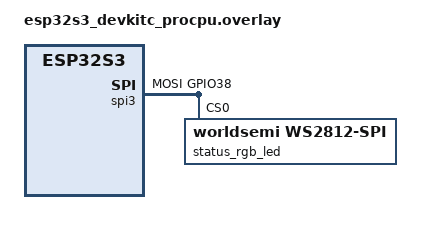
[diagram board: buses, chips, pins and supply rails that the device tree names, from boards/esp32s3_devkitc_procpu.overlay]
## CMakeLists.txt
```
cmake_minimum_required(VERSION 3.20.0)

# Standalone sample: register the status_led module without relying on a
# west manifest entry, so this sample builds on its own against any board.
get_filename_component(STATUS_LED_MODULE_DIR "${CMAKE_CURRENT_SOURCE_DIR}/../.." ABSOLUTE)
list(APPEND ZEPHYR_EXTRA_MODULES ${STATUS_LED_MODULE_DIR})

find_package(Zephyr REQUIRED HINTS $ENV{ZEPHYR_BASE})
project(status_led_basic_sample)

target_sources(app PRIVATE src/main.c)
```

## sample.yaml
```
sample:
  name: Portable RGB status LED demo
  description: >
    Minimal demonstration of the status_led library: boot -> provisioning ->
    network -> MQTT -> OTA -> fatal error lifecycle, driving a real WS2812
    over SPI3. See modules/status_led/README.md for the full state/pattern
    table and the other available hardware backends.
tests:
  sample.status_led.basic:
    # Requires the real WS2812 wiring in boards/esp32s3_devkitc_procpu.overlay
    # (GPIO38/SPI3) -- build-only in CI/twister.
    build_only: true
    platform_allow: esp32s3_devkitc/esp32s3/procpu
    tags: status_led
```

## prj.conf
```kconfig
# Minimal configuration: the status LED library and its WS2812 backend only.
# No networking/MQTT/OTA -- this sample demonstrates the library in isolation.
CONFIG_STATUS_LED=y
CONFIG_STATUS_LED_BACKEND_WS2812=y

CONFIG_LOG=y
```

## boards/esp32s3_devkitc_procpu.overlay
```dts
/*
 * Reference WS2812 wiring for the ESP32-S3-DevKitC, driven over SPI3 using
 * only its MOSI line as the single-wire data line (see status_led README
 * for the DeviceTree contract of the other backends).
 */

#include <zephyr/dt-bindings/led/led.h>
#include <zephyr/dt-bindings/led/worldsemi_ws2812c.h>

/ {
	aliases {
		led-strip = &status_rgb_led;
	};
};

&pinctrl {
	spim3_status_led: spim3_status_led {
		group1 {
			/* GPIO38 = gpio1 pin 6: the onboard WS2812 RGB LED data line. */
			pinmux = <SPIM3_MOSI_GPIO38>;
			output-low;
		};
	};
};

&spi3 {
	#address-cells = <1>;
	#size-cells = <0>;
	status = "okay";
	line-idle-low;
	pinctrl-0 = <&spim3_status_led>;
	pinctrl-names = "default";

	status_rgb_led: ws2812@0 {
		compatible = "worldsemi,ws2812-spi";
		reg = <0>;
		spi-max-frequency = <WS2812C_SPI_FREQ>;

		chain-length = <1>;
		/*
		 * RGB wire order (not the more common GRB) -- verified against
		 * observed hardware: GRB order rendered cyan as magenta (R/G
		 * swapped) on this board's WS2812.
		 */
		color-mapping = <LED_COLOR_ID_RED>,
				<LED_COLOR_ID_GREEN>,
				<LED_COLOR_ID_BLUE>;
		spi-one-frame = <WS2812C_ONE_FRAME>;
		spi-zero-frame = <WS2812C_ZERO_FRAME>;
	};
};
```

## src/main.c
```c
/*
 * Copyright (c) 2026
 * SPDX-License-Identifier: Apache-2.0
 */

/**
 * @file
 * @brief Minimal demonstration of the portable RGB status LED library.
 *
 * Walks through a representative boot -> provisioning -> network -> MQTT
 * lifecycle, then simulates an OTA update and, finally, a fatal error that
 * overrides everything else. No networking/MQTT/OTA subsystem is actually
 * used here -- k_sleep() stands in for the real asynchronous events an
 * application would otherwise wait on.
 */

#include <status_led/status_led.h>

#include <zephyr/kernel.h>
#include <zephyr/logging/log.h>

LOG_MODULE_REGISTER(status_led_sample, LOG_LEVEL_INF);

#define DEMO_STEP_DELAY K_SECONDS(3)

int main(void)
{
	int ret = status_led_init();

	if (ret < 0) {
		LOG_ERR("status_led_init failed: %d", ret);
		return ret;
	}

	LOG_INF("booting");
	status_led_set_state(STATUS_LED_BOOTING);
	k_sleep(DEMO_STEP_DELAY);
	status_led_clear_state(STATUS_LED_BOOTING);

	LOG_INF("provisioning");
	status_led_set_state(STATUS_LED_PROVISIONING);
	k_sleep(DEMO_STEP_DELAY);
	status_led_clear_state(STATUS_LED_PROVISIONING);

	LOG_INF("connecting to network");
	status_led_set_state(STATUS_LED_CONNECTING_NETWORK);
	k_sleep(DEMO_STEP_DELAY);
	status_led_clear_state(STATUS_LED_CONNECTING_NETWORK);
	status_led_set_state(STATUS_LED_NETWORK_CONNECTED);

	LOG_INF("connecting to MQTT");
	status_led_set_state(STATUS_LED_CONNECTING_MQTT);
	k_sleep(DEMO_STEP_DELAY);
	status_led_clear_state(STATUS_LED_CONNECTING_MQTT);
	status_led_set_state(STATUS_LED_MQTT_CONNECTED);
	k_sleep(DEMO_STEP_DELAY);

	LOG_INF("OTA preparing then updating");
	status_led_set_state(STATUS_LED_OTA_PREPARING);
	k_sleep(DEMO_STEP_DELAY);
	status_led_clear_state(STATUS_LED_OTA_PREPARING);
	status_led_set_state(STATUS_LED_OTA_UPDATING);
	k_sleep(DEMO_STEP_DELAY);
	status_led_clear_state(STATUS_LED_OTA_UPDATING);

	LOG_INF("still MQTT-connected: %d", status_led_get_state());
	k_sleep(DEMO_STEP_DELAY);

	LOG_INF("simulating a fatal error -- overrides everything else");
	status_led_set_state(STATUS_LED_FATAL_ERROR);

	return 0;
}
```
